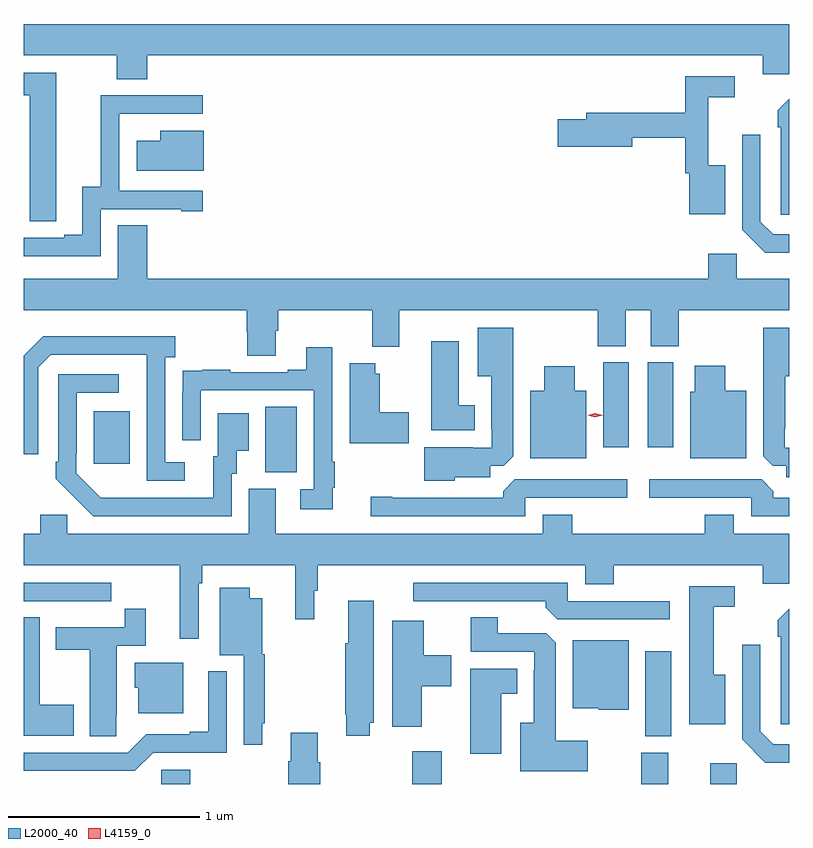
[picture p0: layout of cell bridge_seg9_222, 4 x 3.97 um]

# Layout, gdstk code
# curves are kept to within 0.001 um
import gdstk
lib = gdstk.Library(unit=1e-6, precision=1e-09)
def R(c, l, rs):  # rectangles x0, y0, x1, y1
    for r in rs: c.add(gdstk.rectangle(r[:2], r[2:], *l))
def P(c, l, *ps):  # polygons
    for p in ps: c.add(gdstk.Polygon(p, *l))
L2000_40 = (2000, 40)
L4159_0 = (4159, 0)

bridge_seg9_222 = lib.new_cell('bridge_seg9_222')
R(bridge_seg9_222, L2000_40, [(148.167,1220.584,148.319,1220.658), (149.48,1220.584,149.632,1220.755), (150.677,1220.584,150.817,1220.748), (151.037,1220.584,151.176,1220.692), (150.698,1220.833,150.832,1221.277), (148.712,1222.213,148.876,1222.556), (147.815,1222.257,148.003,1222.531), (150.476,1222.344,150.61,1222.788), (150.71,1222.344,150.844,1222.788)])
P(bridge_seg9_222, L2000_40, [(148.094,1224.392),(151.31,1224.392),(151.31,1224.294),(151.449,1224.294),(151.449,1224.556),(147.449,1224.556),(147.449,1224.392),(147.934,1224.392),(147.934,1224.268),(148.094,1224.268)],
  [(147.618,1223.632),(147.619,1223.632),(147.619,1224.3),(147.449,1224.3),(147.449,1224.184),(147.479,1224.184),(147.479,1223.524),(147.618,1223.524)],
  [(151.114,1223.818),(151.025,1223.818),(151.025,1224.174),(151.165,1224.174),(151.165,1224.282),(150.907,1224.282),(150.907,1224.091),(150.389,1224.091),(150.389,1224.057),(150.24,1224.057),(150.24,1223.915),(150.628,1223.915),(150.628,1223.962),(150.907,1223.962),(150.907,1223.775),(150.926,1223.775),(150.926,1223.561),(151.114,1223.561)],
  [(147.852,1223.589),(148.271,1223.589),(148.271,1223.577),(148.384,1223.577),(148.384,1223.685),(147.948,1223.685),(147.948,1224.086),(147.95,1224.086),(147.95,1224.087),(148.384,1224.087),(148.384,1224.183),(147.85,1224.183),(147.85,1223.705),(147.755,1223.705),(147.755,1223.454),(147.659,1223.454),(147.659,1223.439),(147.449,1223.439),(147.449,1223.343),(147.852,1223.343)],
  [(151.449,1224.165),(151.389,1224.105),(151.389,1224.017),(151.404,1224.017),(151.404,1223.559),(151.449,1223.559)],
  [(148.39,1223.998),(148.163,1223.998),(148.163,1223.947),(148.038,1223.947),(148.038,1223.789),(148.39,1223.789)],
  [(151.449,1223.457),(151.365,1223.457),(151.299,1223.523),(151.299,1223.977),(151.203,1223.977),(151.203,1223.481),(151.324,1223.36),(151.449,1223.36)],
  [(148.765,1222.954),(148.778,1222.954),(148.778,1223.06),(149.27,1223.06),(149.27,1222.868),(149.41,1222.868),(149.41,1223.06),(150.448,1223.06),(150.448,1222.873),(150.595,1222.873),(150.595,1223.06),(150.725,1223.06),(150.725,1222.873),(150.873,1222.873),(150.873,1223.06),(151.449,1223.06),(151.449,1223.224),(151.176,1223.224),(151.176,1223.356),(151.025,1223.356),(151.025,1223.224),(148.094,1223.224),(148.094,1223.504),(147.941,1223.504),(147.941,1223.224),(147.449,1223.224),(147.449,1223.06),(148.613,1223.06),(148.613,1222.947),(148.618,1222.947),(148.618,1222.822),(148.765,1222.822)],
  [(151.449,1222.341),(151.425,1222.341),(151.425,1222.441),(151.429,1222.441),(151.429,1222.715),(151.449,1222.715),(151.449,1222.969),(151.313,1222.969),(151.313,1222.297),(151.362,1222.248),(151.433,1222.248),(151.433,1222.187),(151.449,1222.187)],
  [(149.7,1222.187),(149.887,1222.187),(149.887,1222.248),(149.958,1222.248),(150.007,1222.297),(150.007,1222.969),(149.822,1222.969),(149.822,1222.715),(149.891,1222.715),(149.891,1222.441),(149.895,1222.441),(149.895,1222.341),(149.795,1222.341),(149.795,1222.345),(149.543,1222.345),(149.543,1222.169),(149.7,1222.169)],
  [(148.291,1222.266),(148.188,1222.266),(148.188,1222.814),(148.24,1222.814),(148.24,1222.924),(147.55,1222.924),(147.449,1222.823),(147.449,1222.308),(147.525,1222.308),(147.525,1222.761),(147.591,1222.827),(148.091,1222.827),(148.092,1222.17),(148.291,1222.17)],
  [(149.806,1222.564),(149.722,1222.564),(149.722,1222.897),(149.579,1222.897),(149.579,1222.433),(149.806,1222.433)],
  [(149.063,1222.132),(149.074,1222.132),(149.074,1222.268),(149.061,1222.268),(149.061,1222.867),(148.925,1222.867),(148.925,1222.75),(148.829,1222.75),(148.829,1222.737),(148.529,1222.737),(148.529,1222.75),(148.381,1222.75),(148.381,1222.743),(148.279,1222.743),(148.279,1222.634),(148.278,1222.634),(148.278,1222.38),(148.374,1222.38),(148.374,1222.641),(148.965,1222.641),(148.965,1222.125),(148.893,1222.125),(148.893,1222.02),(149.063,1222.02)],
  [(149.461,1222.527),(149.308,1222.527),(149.308,1222.729),(149.286,1222.729),(149.286,1222.783),(149.153,1222.783),(149.153,1222.364),(149.461,1222.364)],
  [(151.225,1222.639),(151.114,1222.639),(151.114,1222.771),(150.956,1222.771),(150.956,1222.635),(150.932,1222.635),(150.932,1222.286),(151.225,1222.286)],
  [(150.388,1222.639),(150.328,1222.639),(150.328,1222.768),(150.17,1222.768),(150.17,1222.639),(150.095,1222.639),(150.095,1222.286),(150.388,1222.286)],
  [(148.536,1222.206),(148.561,1222.206),(148.561,1222.325),(148.624,1222.325),(148.624,1222.522),(148.463,1222.522),(148.463,1222.296),(148.439,1222.296),(148.439,1222.08),(147.852,1222.081),(147.723,1222.209),(147.723,1222.309),(147.726,1222.309),(147.726,1222.629),(147.946,1222.629),(147.946,1222.725),(147.63,1222.725),(147.63,1222.267),(147.615,1222.267),(147.615,1222.179),(147.812,1221.984),(148.536,1221.984)],
  [(151.449,1222.08),(151.367,1222.08),(151.367,1222.114),(151.305,1222.176),(150.717,1222.176),(150.717,1222.08),(151.251,1222.08),(151.251,1221.984),(151.449,1221.984)],
  [(150.069,1222.08),(150.604,1222.08),(150.604,1222.176),(150.015,1222.176),(149.954,1222.114),(149.954,1222.08),(149.374,1222.08),(149.374,1222.085),(149.262,1222.085),(149.262,1221.984),(150.069,1221.984)],
  [(148.362,1221.632),(148.382,1221.632),(148.382,1221.728),(148.867,1221.728),(148.867,1221.444),(148.966,1221.444),(148.966,1221.594),(148.985,1221.594),(148.985,1221.728),(150.383,1221.728),(150.383,1221.629),(150.531,1221.629),(150.531,1221.728),(151.31,1221.728),(151.31,1221.63),(151.449,1221.63),(151.449,1221.892),(151.159,1221.892),(151.159,1221.991),(151.007,1221.991),(151.007,1221.892),(150.314,1221.892),(150.314,1221.991),(150.161,1221.991),(150.161,1221.892),(148.765,1221.892),(148.765,1222.128),(148.625,1222.128),(148.625,1221.892),(147.675,1221.892),(147.675,1221.99),(147.536,1221.99),(147.536,1221.892),(147.449,1221.892),(147.449,1221.728),(148.265,1221.728),(148.265,1221.342),(148.362,1221.342)],
  [(147.794,1221.54),(147.907,1221.54),(147.907,1221.636),(147.449,1221.636),(147.449,1221.54),(147.628,1221.54),(147.628,1221.539),(147.794,1221.539)],
  [(150.826,1221.54),(150.291,1221.54),(150.291,1221.636),(149.484,1221.636),(149.484,1221.54),(150.176,1221.54),(150.176,1221.506),(150.237,1221.444),(150.826,1221.444)],
  [(151.114,1221.154),(151.054,1221.154),(151.054,1221.51),(151.165,1221.51),(151.165,1221.618),(150.926,1221.618),(150.926,1220.897),(151.114,1220.897)],
  [(148.696,1220.902),(148.708,1220.902),(148.708,1221.261),(148.696,1221.261),(148.696,1221.556),(148.63,1221.556),(148.63,1221.61),(148.472,1221.61),(148.472,1221.257),(148.599,1221.257),(148.599,1220.79),(148.696,1220.79)],
  [(149.257,1220.904),(149.278,1220.904),(149.278,1221.541),(149.144,1221.541),(149.144,1221.319),(149.128,1221.319),(149.128,1220.947),(149.135,1220.947),(149.135,1220.835),(149.257,1220.835)],
  [(151.449,1221.501),(151.389,1221.441),(151.389,1221.353),(151.404,1221.353),(151.404,1220.895),(151.449,1220.895)],
  [(147.933,1220.944),(147.934,1220.944),(147.934,1221.306),(148.085,1221.306),(148.085,1221.499),(147.976,1221.499),(147.976,1221.402),(147.617,1221.402),(147.617,1221.286),(147.794,1221.286),(147.794,1220.833),(147.933,1220.833)],
  [(147.709,1220.997),(147.532,1220.997),(147.532,1221.455),(147.449,1221.455),(147.449,1220.837),(147.709,1220.837)],
  [(150.397,1220.809),(150.229,1220.809),(150.229,1221.323),(150.18,1221.372),(149.926,1221.372),(149.926,1221.455),(149.786,1221.455),(149.786,1221.276),(150.117,1221.276),(150.117,1221.179),(150.113,1221.179),(150.113,1220.905),(150.044,1220.905),(150.044,1220.651),(150.397,1220.651)],
  [(149.53,1221.094),(149.683,1221.094),(149.683,1221.256),(149.539,1221.256),(149.539,1221.436),(149.375,1221.436),(149.375,1220.883),(149.53,1220.883)],
  [(150.61,1221.334),(150.317,1221.334),(150.317,1220.981),(150.453,1220.981),(150.453,1220.972),(150.61,1220.972)],
  [(151.449,1220.793),(151.365,1220.793),(151.299,1220.859),(151.299,1221.313),(151.203,1221.313),(151.203,1220.817),(151.324,1220.696),(151.449,1220.696)],
  [(148.282,1221.217),(148.028,1221.217),(148.028,1221.087),(148.046,1221.087),(148.046,1220.954),(148.282,1220.954)],
  [(149.944,1221.056),(150.028,1221.056),(150.028,1221.187),(149.783,1221.187),(149.783,1220.742),(149.944,1220.742)],
  [(148.125,1220.748),(148.509,1220.748),(148.509,1221.172),(148.412,1221.172),(148.412,1220.857),(148.316,1220.857),(148.316,1220.844),(148.089,1220.844),(147.993,1220.748),(147.449,1220.748),(147.449,1220.652),(148.029,1220.652)],
  [(148.997,1220.697),(148.984,1220.697),(148.984,1220.851),(148.844,1220.851),(148.844,1220.702),(148.832,1220.702),(148.832,1220.584),(148.997,1220.584)])
P(bridge_seg9_222, L4159_0, [(150.434,1222.501),(150.395,1222.511),(150.395,1222.511),(150.395,1222.511),(150.434,1222.521),(150.474,1222.511),(150.474,1222.511),(150.474,1222.511)])

lib.write_gds('bridge_seg9_222.gds')
